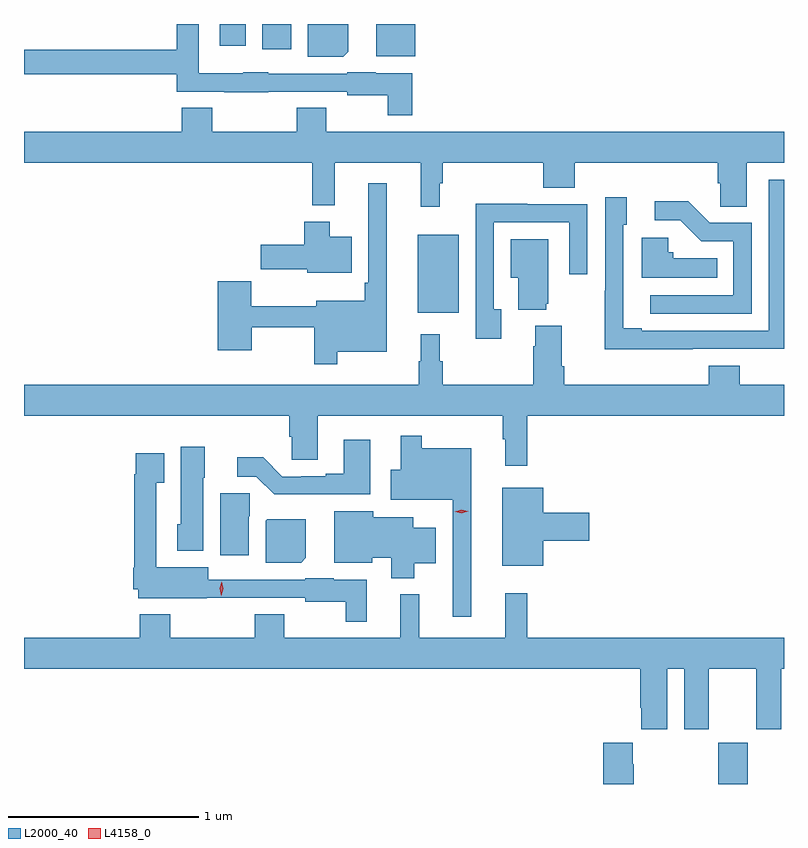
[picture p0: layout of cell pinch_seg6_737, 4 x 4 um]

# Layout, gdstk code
import gdstk
lib = gdstk.Library(unit=1e-6, precision=1e-09)
def R(c, l, rs):  # rectangles x0, y0, x1, y1
    for r in rs: c.add(gdstk.rectangle(r[:2], r[2:], *l))
def P(c, l, *ps):  # polygons
    for p in ps: c.add(gdstk.Polygon(p, *l))
L2000_40 = (2000, 40)
L4158_0 = (4158, 0)

pinch_seg6_737 = lib.new_cell('pinch_seg6_737')
R(pinch_seg6_737, L2000_40, [(509.179,925.418,509.334,925.636), (507.599,927.899,507.814,928.309), (507.38,929.249,507.586,929.418), (506.78,929.286,506.932,929.418), (506.555,929.304,506.692,929.418)])
P(pinch_seg6_737, L2000_40, [(507.232,929.272),(507.232,929.418),(507.02,929.418),(507.02,929.246),(507.206,929.246)],
  [(507.569,929.158),(507.378,929.158),(507.378,929.164),(507.228,929.164),(507.228,929.157),(506.811,929.157),(506.811,929.164),(506.679,929.164),(506.679,929.158),(506.445,929.158),(506.445,929.418),(506.329,929.418),(506.329,929.282),(505.526,929.282),(505.526,929.154),(506.329,929.154),(506.329,929.061),(506.579,929.061),(506.579,929.06),(506.811,929.06),(506.811,929.061),(507.228,929.061),(507.228,929.042),(507.441,929.042),(507.441,928.937),(507.569,928.937)],
  [(507.713,928.58),(507.731,928.58),(507.731,928.688),(508.259,928.688),(508.259,928.555),(508.424,928.555),(508.424,928.688),(509.177,928.688),(509.177,928.579),(509.19,928.579),(509.19,928.456),(509.329,928.456),(509.329,928.688),(509.526,928.688),(509.526,928.852),(507.117,928.852),(507.117,928.976),(506.962,928.976),(506.962,928.852),(506.517,928.852),(506.517,928.976),(506.357,928.976),(506.357,928.852),(505.526,928.852),(505.526,928.688),(507.043,928.688),(507.043,928.463),(507.161,928.463),(507.161,928.688),(507.614,928.688),(507.614,928.455),(507.713,928.455)],
  [(509.045,927.708),(509.526,927.708),(509.526,928.599),(509.445,928.599),(509.445,927.804),(508.777,927.804),(508.777,927.817),(508.68,927.817),(508.68,928.362),(508.699,928.362),(508.699,928.507),(508.584,928.507),(508.584,928.013),(508.582,928.013),(508.582,927.707),(509.045,927.707)],
  [(507.175,927.692),(507.436,927.692),(507.436,928.579),(507.339,928.579),(507.339,928.057),(507.319,928.057),(507.319,927.961),(507.065,927.961),(507.065,927.932),(506.723,927.932),(506.723,928.063),(506.546,928.063),(506.546,927.702),(506.724,927.702),(506.724,927.822),(507.054,927.822),(507.054,927.627),(507.175,927.627)],
  [(509.355,928.371),(509.136,928.371),(509.023,928.484),(508.845,928.484),(508.845,928.386),(508.979,928.386),(509.09,928.275),(509.259,928.275),(509.259,927.99),(508.821,927.99),(508.821,927.894),(509.355,927.894)],
  [(508.039,927.918),(507.999,927.918),(507.999,928.374),(508.395,928.374),(508.395,928.101),(508.491,928.101),(508.491,928.47),(508.175,928.47),(508.175,928.472),(507.903,928.472),(507.903,927.762),(508.039,927.762)],
  [(507.25,928.297),(507.136,928.297),(507.136,928.378),(507.002,928.378),(507.002,928.257),(506.772,928.257),(506.772,928.127),(507.018,928.127),(507.018,928.109),(507.25,928.109)],
  [(509.174,928.186),(508.944,928.186),(508.944,928.218),(508.917,928.218),(508.917,928.294),(508.778,928.294),(508.778,928.082),(509.174,928.082)],
  [(508.274,927.945),(508.285,927.945),(508.285,928.285),(508.088,928.285),(508.088,928.082),(508.127,928.082),(508.127,927.914),(508.274,927.914)],
  [(508.175,927.356),(509.526,927.356),(509.526,927.52),(509.294,927.52),(509.294,927.619),(509.129,927.619),(509.129,927.52),(508.37,927.52),(508.37,927.616),(508.357,927.616),(508.357,927.829),(508.217,927.829),(508.217,927.722),(508.205,927.722),(508.205,927.52),(507.731,927.52),(507.731,927.644),(507.713,927.644),(507.713,927.784),(507.614,927.784),(507.614,927.644),(507.603,927.644),(507.603,927.52),(505.526,927.52),(505.526,927.356),(506.921,927.356),(506.921,927.246),(506.934,927.246),(506.934,927.124),(507.073,927.124),(507.073,927.356),(508.047,927.356),(508.047,927.233),(508.058,927.233),(508.058,927.093),(508.175,927.093)],
  [(507.88,927.184),(507.619,927.184),(507.619,927.25),(507.509,927.25),(507.509,927.073),(507.456,927.073),(507.456,926.915),(507.783,926.915),(507.783,926.298),(507.88,926.298)],
  [(507.349,927.229),(507.209,927.229),(507.209,927.052),(507.113,927.052),(507.113,927.039),(506.986,927.039),(506.986,927.036),(506.886,927.036),(506.784,927.139),(506.649,927.139),(506.649,927.036),(506.748,927.036),(506.843,926.942),(507.349,926.942)],
  [(506.47,927.03),(506.476,927.03),(506.476,927.193),(506.351,927.193),(506.351,926.784),(506.333,926.784),(506.333,926.645),(506.47,926.645)],
  [(507.329,926.494),(507.156,926.494),(507.156,926.5),(507.006,926.5),(507.006,926.493),(506.497,926.493),(506.497,926.56),(506.223,926.56),(506.223,927.004),(506.263,927.004),(506.263,927.16),(506.115,927.16),(506.115,927.047),(506.107,927.047),(506.107,926.556),(506.102,926.556),(506.102,926.442),(506.126,926.442),(506.126,926.396),(506.489,926.396),(506.489,926.397),(507.006,926.397),(507.006,926.378),(507.219,926.378),(507.219,926.273),(507.329,926.273)],
  [(508.258,926.699),(508.501,926.699),(508.501,926.846),(508.258,926.846),(508.258,926.977),(508.043,926.977),(508.043,926.567),(508.258,926.567)],
  [(506.71,926.826),(506.714,926.826),(506.714,926.949),(506.558,926.949),(506.558,926.622),(506.71,926.622)],
  [(507.58,926.579),(507.694,926.579),(507.694,926.767),(507.574,926.767),(507.574,926.821),(507.364,926.821),(507.364,926.854),(507.158,926.854),(507.158,926.582),(507.36,926.582),(507.36,926.609),(507.458,926.609),(507.458,926.501),(507.58,926.501)],
  [(507.01,926.608),(507.01,926.812),(506.806,926.812),(506.798,926.804),(506.798,926.582),(506.984,926.582)],
  [(508.912,926.024),(509,926.024),(509,925.707),(509.131,925.707),(509.131,926.024),(509.381,926.024),(509.381,925.707),(509.512,925.707),(509.512,926.024),(509.526,926.024),(509.526,926.188),(508.175,926.188),(508.175,926.422),(508.058,926.422),(508.058,926.188),(507.605,926.188),(507.605,926.416),(507.506,926.416),(507.506,926.188),(506.895,926.188),(506.895,926.312),(506.74,926.312),(506.74,926.188),(506.295,926.188),(506.295,926.311),(506.135,926.311),(506.135,926.188),(505.526,926.188),(505.526,926.024),(508.769,926.024),(508.769,925.819),(508.775,925.819),(508.775,925.707),(508.912,925.707)],
  [(508.734,925.523),(508.729,925.523),(508.729,925.636),(508.574,925.636),(508.574,925.418),(508.734,925.418)])
P(pinch_seg6_737, L4158_0, [(506.563,926.41),(506.563,926.41),(506.555,926.447),(506.566,926.482),(506.567,926.482),(506.567,926.482),(506.575,926.446),(506.563,926.41)],
  [(507.83,926.842),(507.794,926.85),(507.794,926.85),(507.794,926.85),(507.828,926.862),(507.864,926.854),(507.864,926.853),(507.864,926.853)])

lib.write_gds('pinch_seg6_737.gds')
